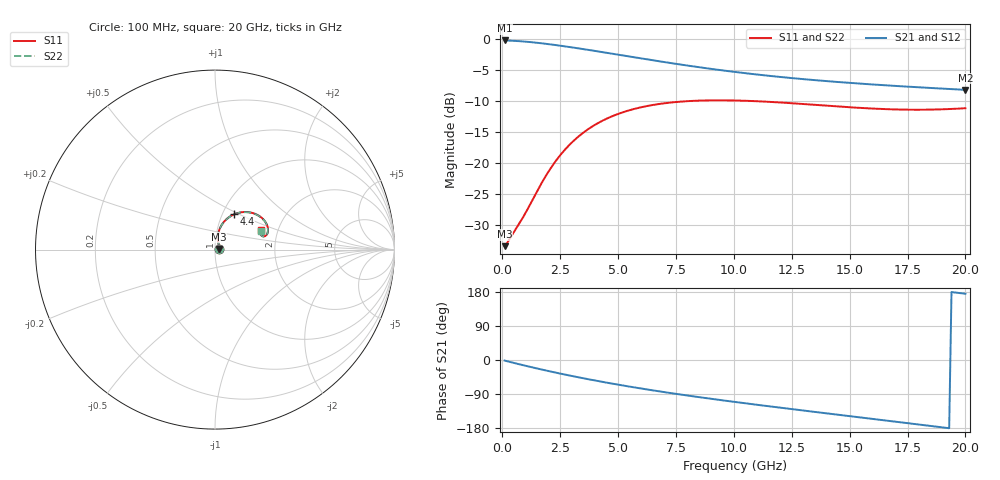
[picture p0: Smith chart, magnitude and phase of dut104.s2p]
! Touchstone file exported from HFSS 2024.1.0
!  File:  C:/UserFiles/LocalFiles/RDL_TSV_Batchsim/temp_RDL_TSV_104_1779420575.aedt
!  Generated:  11:45:12 AM May 22, 2026
!  Design:  RDL_TSV
!  Project:  temp_RDL_TSV_104_1779420575
!  Setup:  Setup1
!  Solution:  Sweep
! Variables:
!  dtsv = 8.83um
!  hbump = 3um
!  htsv = 61.48um
!  ldown = 460.85um
!  lrdl = 339.65um
!  p = 40
!  p1 = 44.93um
!  rhole = 10um
!  subl = 2741.15um
!  t = 450um
!  tdown = 3.16um
!  trdl = 2.08um
!  viad = 10um
!  wdown = 14.59um
!  wrdl = 24.05um
!  xbump = 18um
# GHz S MA R 50.000000
! Terminal data exported
! Port[1] = TM1_1_T1
! Port[2] = TM1_4_T1
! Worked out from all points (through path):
!   200 points, 100 MHz to 20 GHz, reference 50 ohm
!   highest |S21| = -0.18 dB at 100 MHz (marker M1); lowest = -8.2 dB at 20 GHz (marker M2)
!   group delay of S21, straight-line fit = 24.3 ps
!   lowest |S11| = -33.5 dB at 100 MHz (marker M3), VSWR 1.04, Z = 52.1 + j0.392 ohm
!   |S11| at or under -10 dB: start of sweep to 8.066 GHz; 10.84 GHz to end of sweep
!   |S22| runs from -33.5 to -9.9 dB; largest |S21 - S12| = 1.5e-14
!   S11 on the Smith chart (normalised r, x): 100 MHz: 1.04, +0.01; 4.4 GHz: 1.13, +0.47; 20 GHz: 1.63, +0.38
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0.1  0.02114 10.2  0.9789 -1.6  0.9789 -1.6  0.02114 10.2
! Gamma 0 0 0 0
! Port Impedance 50 0 50 0
0.5  0.02751 38.5  0.9722 -7.8  0.9722 -7.8  0.02752 38.4
1  0.03917 60.8  0.9576 -15.2  0.9576 -15.2  0.03917 60.8
1.7  0.06869 76.6  0.9286 -25.2  0.9286 -25.2  0.06865 76.5
2.2  0.09693 78.4  0.9039 -31.9  0.9039 -31.9  0.09685 78.3
2.5  0.1152 77.6  0.8881 -35.8  0.8881 -35.8  0.115 77.5
2.8  0.1336 75.9  0.8719 -39.7  0.8719 -39.7  0.1335 75.8
3.5  0.1755 70.2  0.8333 -48.2  0.8333 -48.2  0.1753 70.1
3.9  0.1977 66.5  0.8111 -52.9  0.8111 -52.9  0.1974 66.4
4.4  0.2228 61.7  0.7836 -58.5  0.7836 -58.5  0.2224 61.7
4.9  0.2447 57.1  0.7567 -64.0  0.7567 -64.0  0.2444 57.0
5.5  0.2669 51.7  0.7254 -70.3  0.7254 -70.3  0.2664 51.7
6.8  0.3 41.4  0.6629 -83.0  0.6629 -83.0  0.2995 41.4
7.6  0.3118 36.0  0.6287 -90.2  0.6287 -90.2  0.3112 36.0
8.4  0.3184 31.3  0.5978 -97.2  0.5978 -97.2  0.3178 31.2
10.1  0.3196 23.4  0.5427 -111.1  0.5427 -111.1  0.3189 23.4
11.7  0.3104 18.4  0.5022 -123.5  0.5022 -123.5  0.3097 18.4
13.4  0.2957 15.6  0.4687 -136.3  0.4687 -136.3  0.295 15.5
15  0.2818 15.1  0.4439 -148.1  0.4439 -148.1  0.2811 15.0
16.7  0.2715 16.7  0.4225 -160.7  0.4225 -160.7  0.2708 16.6
18.3  0.2693 19.5  0.4056 -172.5  0.4056 -172.5  0.2687 19.5
20  0.2767 22.7  0.3898 174.8  0.3898 174.8  0.2761 22.6
